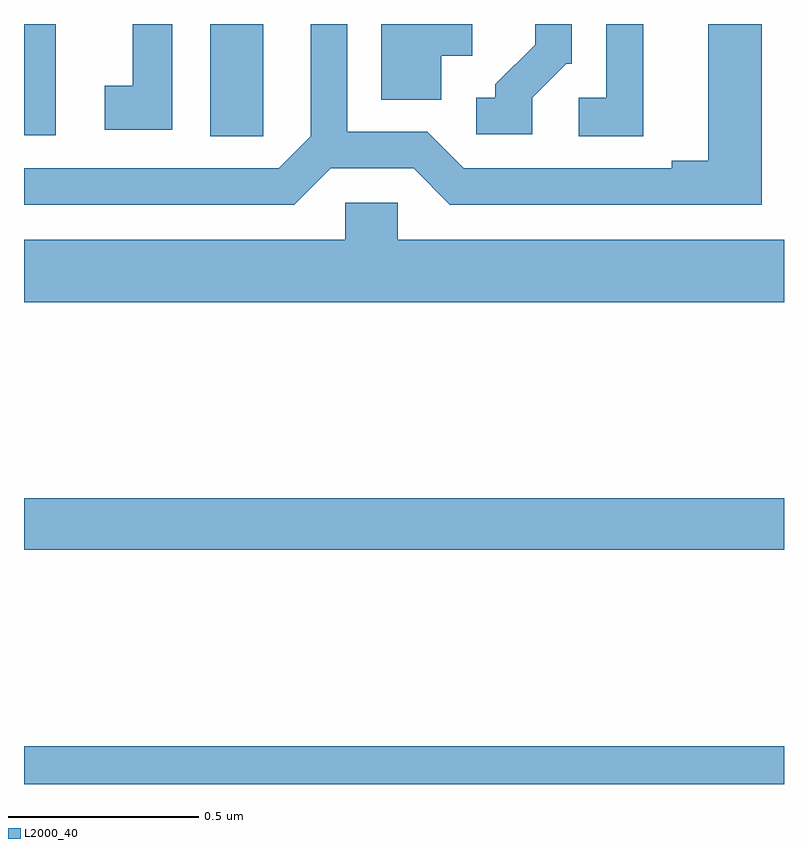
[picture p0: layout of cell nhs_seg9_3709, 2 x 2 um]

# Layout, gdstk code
import gdstk
lib = gdstk.Library(unit=1e-6, precision=1e-09)
def R(c, l, rs):  # rectangles x0, y0, x1, y1
    for r in rs: c.add(gdstk.rectangle(r[:2], r[2:], *l))
def P(c, l, *ps):  # polygons
    for p in ps: c.add(gdstk.Polygon(p, *l))
L2000_40 = (2000, 40)

nhs_seg9_3709 = lib.new_cell('nhs_seg9_3709')
R(nhs_seg9_3709, L2000_40, [(157,1180.5,159,1180.6), (157,1181.116,159,1181.252), (157,1182.207,157.084,1182.5)])
P(nhs_seg9_3709, L2000_40, [(158.629,1182.5),(158.532,1182.5),(158.532,1182.306),(158.46,1182.306),(158.46,1182.205),(158.629,1182.205)],
  [(157.807,1182.12),(158.025,1182.12),(158.121,1182.024),(158.941,1182.024),(158.941,1182.5),(158.801,1182.5),(158.801,1182.14),(158.705,1182.14),(158.705,1182.12),(158.157,1182.12),(158.061,1182.216),(157.851,1182.216),(157.851,1182.5),(157.755,1182.5),(157.755,1182.204),(157.671,1182.12),(157,1182.12),(157,1182.024),(157.711,1182.024)],
  [(157.629,1182.313),(157.63,1182.313),(157.63,1182.5),(157.49,1182.5),(157.49,1182.205),(157.629,1182.205)],
  [(158.098,1182.416),(158.179,1182.416),(158.179,1182.5),(157.94,1182.5),(157.94,1182.301),(158.098,1182.301)],
  [(157.39,1182.5),(157.286,1182.5),(157.286,1182.338),(157.212,1182.338),(157.212,1182.222),(157.39,1182.222)],
  [(158.337,1182.306),(158.427,1182.396),(158.442,1182.396),(158.442,1182.5),(158.345,1182.5),(158.345,1182.446),(158.24,1182.341),(158.24,1182.306),(158.19,1182.306),(158.19,1182.21),(158.337,1182.21)],
  [(159,1181.932),(157.983,1181.932),(157.983,1182.03),(157.845,1182.03),(157.845,1181.932),(157,1181.932),(157,1181.768),(159,1181.768)])

lib.write_gds('nhs_seg9_3709.gds')
